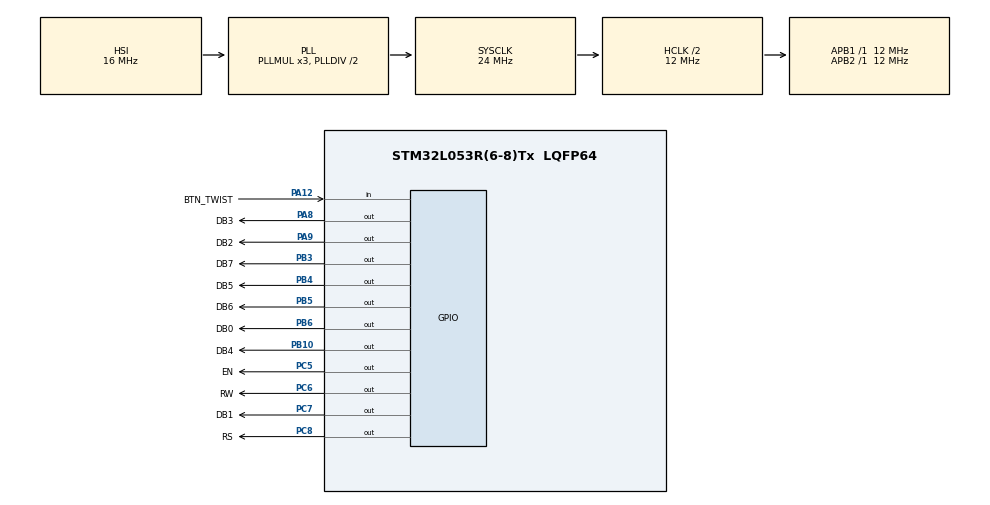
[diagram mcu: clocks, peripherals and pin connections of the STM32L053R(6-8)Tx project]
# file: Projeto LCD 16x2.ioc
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Mcu.Family=STM32L0
Mcu.Name=STM32L053R(6-8)Tx
Mcu.Package=LQFP64
NVIC.TIM6_DAC_IRQn=true\:0\:0\:false\:false\:true\:true\:true\:true
PA12.GPIO_Label=BTN_TWIST
PA12.GPIO_PuPd=GPIO_PULLUP
PA12.Signal=GPIO_Input
PA8.GPIO_Label=DB3
PA8.GPIO_Speed=GPIO_SPEED_FREQ_VERY_HIGH
PA8.Signal=GPIO_Output
PA9.GPIO_Label=DB2
PA9.GPIO_Speed=GPIO_SPEED_FREQ_VERY_HIGH
PA9.Signal=GPIO_Output
PB10.GPIO_Label=DB4
PB10.GPIO_Speed=GPIO_SPEED_FREQ_VERY_HIGH
PB10.Signal=GPIO_Output
PB3.GPIO_Label=DB7
PB3.GPIO_Speed=GPIO_SPEED_FREQ_VERY_HIGH
PB3.Signal=GPIO_Output
PB4.GPIO_Label=DB5
PB4.GPIO_Speed=GPIO_SPEED_FREQ_VERY_HIGH
PB4.Signal=GPIO_Output
PB5.GPIO_Label=DB6
PB5.GPIO_Speed=GPIO_SPEED_FREQ_VERY_HIGH
PB5.Signal=GPIO_Output
PB6.GPIO_Label=DB0
PB6.GPIO_Speed=GPIO_SPEED_FREQ_VERY_HIGH
PB6.Signal=GPIO_Output
PC5.GPIO_Label=EN
PC5.GPIO_Speed=GPIO_SPEED_FREQ_VERY_HIGH
PC5.Signal=GPIO_Output
PC6.GPIO_Label=RW
PC6.GPIO_Speed=GPIO_SPEED_FREQ_VERY_HIGH
PC6.Signal=GPIO_Output
PC7.GPIO_Label=DB1
PC7.GPIO_Speed=GPIO_SPEED_FREQ_VERY_HIGH
PC7.Signal=GPIO_Output
PC8.GPIO_Label=RS
PC8.GPIO_Speed=GPIO_SPEED_FREQ_VERY_HIGH
PC8.Signal=GPIO_Output
ProjectManager.HeapSize=0x200
ProjectManager.StackSize=0x400
ProjectManager.TargetToolchain=STM32CubeIDE
RCC.AHBCLKDivider=RCC_SYSCLK_DIV2
RCC.AHBFreq_Value=12000000
RCC.APB1Freq_Value=12000000
RCC.APB1TimFreq_Value=12000000
RCC.APB2Freq_Value=12000000
RCC.APB2TimFreq_Value=12000000
RCC.HCLKFreq_Value=12000000
RCC.HSE_VALUE=8000000
RCC.HSI16_VALUE=16000000
RCC.HSI48_VALUE=48000000
RCC.HSI_VALUE=16000000
RCC.LSE_VALUE=32768
RCC.MSI_VALUE=2097000
RCC.SYSCLKFreq_VALUE=24000000
RCC.SYSCLKSource=RCC_SYSCLKSOURCE_PLLCLK
RCC.VCOOutputFreq_Value=48000000
TIM6.AutoReloadPreload=TIM_AUTORELOAD_PRELOAD_ENABLE
TIM6.Period=1000-1
TIM6.Prescaler=12000-1
VP_TIM6_VS_ClockSourceINT.Mode=Enable_Timer
board=NUCLEO-L053R8

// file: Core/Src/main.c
/* USER CODE BEGIN Header */
/**
  ******************************************************************************
  * @file           : main.c
  * @brief          : Main program body
  ******************************************************************************
  * @attention
  *
  * Copyright (c) 2025 STMicroelectronics.
  * All rights reserved.
  *
  * This software is licensed under terms that can be found in the LICENSE file
  * in the root directory of this software component.
  * If no LICENSE file comes with this software, it is provided AS-IS.
  *
  ******************************************************************************
  */
/* USER CODE END Header */
#include "main.h"

/* USER CODE BEGIN Includes */
#include <stdio.h>
#include <string.h>

/* USER CODE END Includes */

/* USER CODE BEGIN PTD */
typedef struct datap {
	unsigned P0 : 1;
	unsigned P1 : 1;
	unsigned P2 : 1;
	unsigned P3 : 1;
	unsigned P4 : 1;
	unsigned P5 : 1;
	unsigned P6 : 1;
	unsigned P7 : 1;
} datap;

/* USER CODE END PTD */

/* USER CODE BEGIN PD */
#define DELAY_TIME 20
#define WORD_SIZE 16
/* USER CODE END PD */

TIM_HandleTypeDef htim6;

/* USER CODE BEGIN PV */

uint8_t bouncingTime 	= 0,
		brefBoucingTime = 0,
		count           = 0,
		altern          = 0;

uint8_t contagem = 0;

char words[4][WORD_SIZE] = {
						{"Hello World!"},
						{"I'm Daniel"},
						{":D :P :^ :| :("},
						{"SELETIVA WS DF"}
					};

char atualWord[WORD_SIZE],
	 buffer[20],
	 start[50] = "Contando: ";

//char    atualState      = 0,
//		newState        = 1,
//		aux             = 0;

/* USER CODE END PV */

void SystemClock_Config(void);
static void MX_GPIO_Init(void);
static void MX_TIM6_Init(void);
/* USER CODE BEGIN PFP */

void Refresh(void);
void Initialize_LCD(void);
void Mensage(char *atualString);
void Control_LCD (unsigned data, unsigned gate);

/* USER CODE END PFP */

int main(void)
{

  /* MCU Configuration--------------------------------------------------------*/

  /* Reset of all peripherals, Initializes the Flash interface and the Systick. */
  HAL_Init();

  /* Configure the system clock */
  SystemClock_Config();

  /* Initialize all configured peripherals */
  MX_GPIO_Init();
  MX_TIM6_Init();
  /* USER CODE BEGIN 2 */
  HAL_TIM_Base_Start_IT(&htim6);
  HAL_Delay(DELAY_TIME);
  Initialize_LCD();

  /* USER CODE END 2 */

  /* Infinite loop */
  /* USER CODE BEGIN WHILE */
  while (1)
  {

	  Refresh();
	  strcpy(atualWord, words[count]);
	  Mensage(atualWord);
	  Control_LCD(0x80, 0);

	  Control_LCD(0xC0, 0);
	  Mensage("CONTAGEM: ");

	  Control_LCD(0xCA, 0);
	  sprintf(buffer,"   %d  ", contagem);
	  Mensage(buffer);

    /* USER CODE END WHILE */

  }
}

void SystemClock_Config(void)
{
  RCC_OscInitTypeDef RCC_OscInitStruct = {0};
  RCC_ClkInitTypeDef RCC_ClkInitStruct = {0};

  /** Configure the main internal regulator output voltage
  */
  __HAL_PWR_VOLTAGESCALING_CONFIG(PWR_REGULATOR_VOLTAGE_SCALE1);

  /** Initializes the RCC Oscillators according to the specified parameters
  * in the RCC_OscInitTypeDef structure.
  */
  RCC_OscInitStruct.OscillatorType = RCC_OSCILLATORTYPE_HSI;
  RCC_OscInitStruct.HSIState = RCC_HSI_ON;
  RCC_OscInitStruct.HSICalibrationValue = RCC_HSICALIBRATION_DEFAULT;
  RCC_OscInitStruct.PLL.PLLState = RCC_PLL_ON;
  RCC_OscInitStruct.PLL.PLLSource = RCC_PLLSOURCE_HSI;
  RCC_OscInitStruct.PLL.PLLMUL = RCC_PLLMUL_3;
  RCC_OscInitStruct.PLL.PLLDIV = RCC_PLLDIV_2;
  if (HAL_RCC_OscConfig(&RCC_OscInitStruct) != HAL_OK)
  {
    Error_Handler();
  }

  /** Initializes the CPU, AHB and APB buses clocks
  */
  RCC_ClkInitStruct.ClockType = RCC_CLOCKTYPE_HCLK|RCC_CLOCKTYPE_SYSCLK
                              |RCC_CLOCKTYPE_PCLK1|RCC_CLOCKTYPE_PCLK2;
  RCC_ClkInitStruct.SYSCLKSource = RCC_SYSCLKSOURCE_PLLCLK;
  RCC_ClkInitStruct.AHBCLKDivider = RCC_SYSCLK_DIV2;
  RCC_ClkInitStruct.APB1CLKDivider = RCC_HCLK_DIV1;
  RCC_ClkInitStruct.APB2CLKDivider = RCC_HCLK_DIV1;

  if (HAL_RCC_ClockConfig(&RCC_ClkInitStruct, FLASH_LATENCY_0) != HAL_OK)
  {
    Error_Handler();
  }
}

static void MX_TIM6_Init(void)
{

  TIM_MasterConfigTypeDef sMasterConfig = {0};

  htim6.Instance = TIM6;
  htim6.Init.Prescaler = 12000-1;
  htim6.Init.CounterMode = TIM_COUNTERMODE_UP;
  htim6.Init.Period = 1000-1;
  htim6.Init.AutoReloadPreload = TIM_AUTORELOAD_PRELOAD_ENABLE;
  if (HAL_TIM_Base_Init(&htim6) != HAL_OK)
  {
    Error_Handler();
  }
  sMasterConfig.MasterOutputTrigger = TIM_TRGO_RESET;
  sMasterConfig.MasterSlaveMode = TIM_MASTERSLAVEMODE_DISABLE;
  if (HAL_TIMEx_MasterConfigSynchronization(&htim6, &sMasterConfig) != HAL_OK)
  {
    Error_Handler();
  }

}

static void MX_GPIO_Init(void)
{
  GPIO_InitTypeDef GPIO_InitStruct = {0};

  /* GPIO Ports Clock Enable */
  __HAL_RCC_GPIOC_CLK_ENABLE();
  __HAL_RCC_GPIOB_CLK_ENABLE();
  __HAL_RCC_GPIOA_CLK_ENABLE();

  /*Configure GPIO pin Output Level */
  HAL_GPIO_WritePin(GPIOC, EN_Pin|RW_Pin|DB1_Pin|RS_Pin, GPIO_PIN_RESET);

  /*Configure GPIO pin Output Level */
  HAL_GPIO_WritePin(GPIOB, DB4_Pin|DB7_Pin|DB5_Pin|DB6_Pin
                          |DB0_Pin, GPIO_PIN_RESET);

  /*Configure GPIO pin Output Level */
  HAL_GPIO_WritePin(GPIOA, DB3_Pin|DB2_Pin, GPIO_PIN_RESET);

  /*Configure GPIO pins : EN_Pin RW_Pin DB1_Pin RS_Pin */
  GPIO_InitStruct.Pin = EN_Pin|RW_Pin|DB1_Pin|RS_Pin;
  GPIO_InitStruct.Mode = GPIO_MODE_OUTPUT_PP;
  GPIO_InitStruct.Pull = GPIO_NOPULL;
  GPIO_InitStruct.Speed = GPIO_SPEED_FREQ_VERY_HIGH;
  HAL_GPIO_Init(GPIOC, &GPIO_InitStruct);

  /*Configure GPIO pins : DB4_Pin DB7_Pin DB5_Pin DB6_Pin
                           DB0_Pin */
  GPIO_InitStruct.Pin = DB4_Pin|DB7_Pin|DB5_Pin|DB6_Pin
                          |DB0_Pin;
  GPIO_InitStruct.Mode = GPIO_MODE_OUTPUT_PP;
  GPIO_InitStruct.Pull = GPIO_NOPULL;
  GPIO_InitStruct.Speed = GPIO_SPEED_FREQ_VERY_HIGH;
  HAL_GPIO_Init(GPIOB, &GPIO_InitStruct);

  /*Configure GPIO pins : DB3_Pin DB2_Pin */
  GPIO_InitStruct.Pin = DB3_Pin|DB2_Pin;
  GPIO_InitStruct.Mode = GPIO_MODE_OUTPUT_PP;
  GPIO_InitStruct.Pull = GPIO_NOPULL;
  GPIO_InitStruct.Speed = GPIO_SPEED_FREQ_VERY_HIGH;
  HAL_GPIO_Init(GPIOA, &GPIO_InitStruct);

  /*Configure GPIO pin : BTN_TWIST_Pin */
  GPIO_InitStruct.Pin = BTN_TWIST_Pin;
  GPIO_InitStruct.Mode = GPIO_MODE_INPUT;
  GPIO_InitStruct.Pull = GPIO_PULLUP;
  HAL_GPIO_Init(BTN_TWIST_GPIO_Port, &GPIO_InitStruct);

}

/* USER CODE BEGIN 4 */

// Inicializador
void Initialize_LCD(void){
    /* Inicialização dos caracteres resolução 5x8 */
    Control_LCD(0x30, 0);
    Control_LCD(0x30, 0);
    Control_LCD(0x30, 0);

    /*Comunicação de 8bits disp de 2 ou mais linhas*/
    Control_LCD(0x38, 0);

    Control_LCD(0x0F, 0); // Liga o cursor no modo piscante
    Control_LCD(0x06, 0); // Desloca o cursor para a direita quando um caracter é inserido
    Control_LCD(0x01, 0); // Limpa a tela do display e desloca o cursor
}

// Para mensagens
void Mensage(char *atual_string){
    for (int i = 0; atual_string[i] != '\0'; i++){
    	if (atual_string[i] == '\0') break;
		Control_LCD(atual_string[i], 1);
    }
}

// Controle do LCD
void Control_LCD(unsigned data, unsigned gate) {
    datap port;

    // Filtro de informação
    port.P0 = (data >> 0) & 1;
    port.P1 = (data >> 1) & 1;
    port.P2 = (data >> 2) & 1;
    port.P3 = (data >> 3) & 1;
    port.P4 = (data >> 4) & 1;
    port.P5 = (data >> 5) & 1;
    port.P6 = (data >> 6) & 1;
    port.P7 = (data >> 7) & 1;

    if (gate) {
        HAL_GPIO_WritePin(RS_GPIO_Port, RS_Pin, GPIO_PIN_SET);
    } else {
        HAL_GPIO_WritePin(RS_GPIO_Port, RS_Pin,GPIO_PIN_RESET);
    }

    HAL_GPIO_WritePin(RW_GPIO_Port, RW_Pin,GPIO_PIN_RESET);

    HAL_GPIO_WritePin(DB0_GPIO_Port, DB0_Pin, port.P0);
    HAL_GPIO_WritePin(DB1_GPIO_Port, DB1_Pin, port.P1);
    HAL_GPIO_WritePin(DB2_GPIO_Port, DB2_Pin, port.P2);
    HAL_GPIO_WritePin(DB3_GPIO_Port, DB3_Pin, port.P3);
    HAL_GPIO_WritePin(DB4_GPIO_Port, DB4_Pin, port.P4);
    HAL_GPIO_WritePin(DB5_GPIO_Port, DB5_Pin, port.P5);
    HAL_GPIO_WritePin(DB6_GPIO_Port, DB6_Pin, port.P6);
    HAL_GPIO_WritePin(DB7_GPIO_Port, DB7_Pin, port.P7);

    HAL_Delay(1);
    HAL_GPIO_WritePin(EN_GPIO_Port, EN_Pin, GPIO_PIN_SET);
    HAL_Delay(1);
    HAL_GPIO_WritePin(EN_GPIO_Port, EN_Pin, GPIO_PIN_RESET);
}

void Refresh(void){
	uint8_t btwist = HAL_GPIO_ReadPin(BTN_TWIST_GPIO_Port, BTN_TWIST_Pin);

	if (!btwist){
		bouncingTime = HAL_GetTick();
		if ((bouncingTime - brefBoucingTime ) < DELAY_TIME){
			count++;
		    Control_LCD(0x01, 0);
		}

		brefBoucingTime = bouncingTime;
		if (count >= 4) count = 0;

	}
}

void HAL_TIM_PeriodElapsedCallback(TIM_HandleTypeDef *htim){
	contagem++;
	if (contagem >= 100) contagem = 0;
}

/* USER CODE END 4 */

void Error_Handler(void)
{
}
